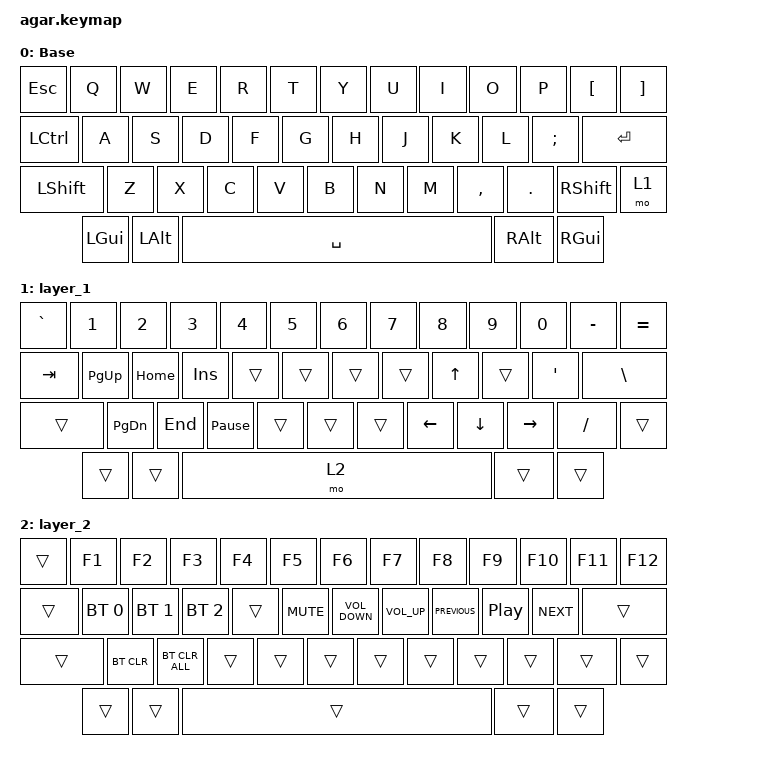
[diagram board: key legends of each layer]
#include <behaviors.dtsi>
#include <dt-bindings/zmk/bt.h>
#include <dt-bindings/zmk/keys.h>

/ {
    combos {
        compatible = "zmk,combos";

        backspace {
            bindings = <&kp BACKSPACE>;
            key-positions = <11 12>;
            layers = <0>;
        };

        delete {
            bindings = <&kp DELETE>;
            key-positions = <12 11>;
            layers = <1>;
        };
    };

    keymap {
        compatible = "zmk,keymap";

        default_layer {
            display-name = "Base";
            bindings = <
&kp ESC           &kp Q         &kp W         &kp E  &kp R  &kp T      &kp Y  &kp U  &kp I      &kp O          &kp P            &kp LEFT_BRACKET  &kp RIGHT_BRACKET
&kp LEFT_CONTROL  &kp A         &kp S         &kp D  &kp F  &kp G      &kp H  &kp J  &kp K      &kp L          &kp SEMICOLON    &kp ENTER
&kp LEFT_SHIFT    &kp Z         &kp X         &kp C  &kp V  &kp B      &kp N  &kp M  &kp COMMA  &kp PERIOD     &kp RIGHT_SHIFT                    &mo 1
                  &kp LEFT_GUI  &kp LEFT_ALT                &kp SPACE                           &kp RIGHT_ALT  &kp RIGHT_GUI
            >;
        };

        layer_1 {
            bindings = <
&kp GRAVE  &kp N1         &kp N2    &kp N3           &kp N4  &kp N5  &kp N6  &kp N7    &kp N8    &kp N9     &kp N0     &kp MINUS      &kp EQUAL
&kp TAB    &kp PAGE_UP    &kp HOME  &kp INSERT       &trans  &trans  &trans  &trans    &kp UP    &trans     &kp SQT    &kp BACKSLASH
&trans     &kp PAGE_DOWN  &kp END   &kp PAUSE_BREAK  &trans  &trans  &trans  &kp LEFT  &kp DOWN  &kp RIGHT  &kp SLASH                 &trans
           &trans         &trans                             &mo 2                               &trans     &trans
            >;
        };

        layer_2 {
            bindings = <
&trans  &kp F1        &kp F2          &kp F3        &kp F4  &kp F5      &kp F6             &kp F7           &kp F8          &kp F9            &kp F10     &kp F11  &kp F12
&trans  &bt BT_SEL 0  &bt BT_SEL 1    &bt BT_SEL 2  &trans  &kp C_MUTE  &kp C_VOLUME_DOWN  &kp C_VOLUME_UP  &kp C_PREVIOUS  &kp C_PLAY_PAUSE  &kp C_NEXT  &trans
&trans  &bt BT_CLR    &bt BT_CLR_ALL  &trans        &trans  &trans      &trans             &trans           &trans          &trans            &trans               &trans
        &trans        &trans                                &trans                                                          &trans            &trans
            >;
        };
    };
};
